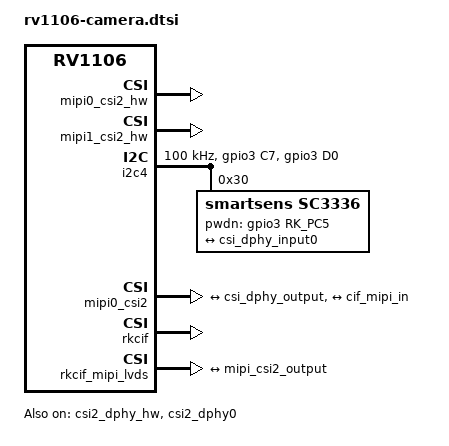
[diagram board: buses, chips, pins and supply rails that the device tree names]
// SPDX-License-Identifier: (GPL-2.0+ OR MIT)
/*
 * MIPI CSI camera support shared by the Luckfox RV1103/RV1106 boards.
 *
 * Every board is described with the SC3336 sensor on i2c4, so a camera module
 * attached to the MIPI connector works without a dedicated device tree. Boards
 * without a module simply fail to probe the sensor, which is harmless.
 */

/ {
	reserved-memory {
		#address-cells = <1>;
		#size-cells = <1>;
		ranges;

		/*
		 * The CIF needs physically contiguous frame buffers and there is
		 * no reserved region for it, so provide a reusable CMA pool. One
		 * 2304x1296 RAW10 frame is ~3.8 MiB.
		 */
		cma: cma {
			compatible = "shared-dma-pool";
			reusable;
			size = <0x2000000>;
			linux,cma-default;
		};
	};

	aliases {
		i2c4 = &i2c4;
	};
};

/***************************** CSI ********************************/
&pinctrl {
	camera {
		mipi_refclk_sleep: mipi-refclk-sleep {
			rockchip,pins = <3 RK_PC4 RK_FUNC_GPIO &pcfg_output_low>;
		};

		/*
		 * Same pins as i2c4m2, but with the SoC pull-ups enabled and a
		 * slower bus. The camera connector provides no (or too weak)
		 * external pull-ups, so with the vendor "pull_none" group the
		 * bus floats and every transfer NAKs.
		 */
		i2c4_cam_xfer: i2c4-cam-xfer {
			rockchip,pins = <3 RK_PC7 3 &pcfg_pull_up>,
					<3 RK_PD0 3 &pcfg_pull_up>;
		};
	};
};

&csi2_dphy_hw {
	status = "okay";
};

/* mipi0_csi2 needs both CSI host instances available (num_hw == 2). */
&mipi0_csi2_hw {
	status = "okay";
};

&mipi1_csi2_hw {
	status = "okay";
};

&csi2_dphy0 {
	status = "okay";

	ports {
		#address-cells = <1>;
		#size-cells = <0>;

		port@0 {
			reg = <0>;
			#address-cells = <1>;
			#size-cells = <0>;

			csi_dphy_input0: endpoint@0 {
				reg = <0>;
				remote-endpoint = <&sc3336_out>;
				data-lanes = <1 2>;
			};
		};

		port@1 {
			reg = <1>;
			#address-cells = <1>;
			#size-cells = <0>;

			csi_dphy_output: endpoint@0 {
				reg = <0>;
				remote-endpoint = <&mipi_csi2_input>;
			};
		};
	};
};

&i2c4 {
	status = "okay";
	clock-frequency = <100000>;
	pinctrl-names = "default";
	pinctrl-0 = <&i2c4_cam_xfer>;

	sc3336: sc3336@30 {
		compatible = "smartsens,sc3336";
		status = "okay";
		reg = <0x30>;
		clocks = <&cru MCLK_REF_MIPI0>;
		clock-names = "xvclk";
		pwdn-gpios = <&gpio3 RK_PC5 GPIO_ACTIVE_HIGH>;
		pinctrl-names = "default", "sleep";
		pinctrl-0 = <&mipi_refclk_out0>;
		pinctrl-1 = <&mipi_refclk_sleep>;
		rockchip,camera-module-index = <0>;
		rockchip,camera-module-facing = "back";
		rockchip,camera-module-name = "CMK-OT2119-PC1";
		rockchip,camera-module-lens-name = "30IRC-F16";
		port {
			sc3336_out: endpoint {
				remote-endpoint = <&csi_dphy_input0>;
				data-lanes = <1 2>;
			};
		};
	};
};

&mipi0_csi2 {
	status = "okay";

	ports {
		#address-cells = <1>;
		#size-cells = <0>;

		port@0 {
			reg = <0>;
			#address-cells = <1>;
			#size-cells = <0>;

			mipi_csi2_input: endpoint@1 {
				reg = <1>;
				remote-endpoint = <&csi_dphy_output>;
				data-lanes = <1 2>;
			};
		};

		port@1 {
			reg = <1>;
			#address-cells = <1>;
			#size-cells = <0>;

			mipi_csi2_output: endpoint@0 {
				reg = <0>;
				remote-endpoint = <&cif_mipi_in>;
			};
		};
	};
};

&rkcif {
	status = "okay";
};

&rkcif_mipi_lvds {
	status = "okay";

	pinctrl-names = "default";
	pinctrl-0 = <&mipi_pins>;
	port {
		/* MIPI CSI-2 endpoint */
		cif_mipi_in: endpoint {
			remote-endpoint = <&mipi_csi2_output>;
		};
	};
};
